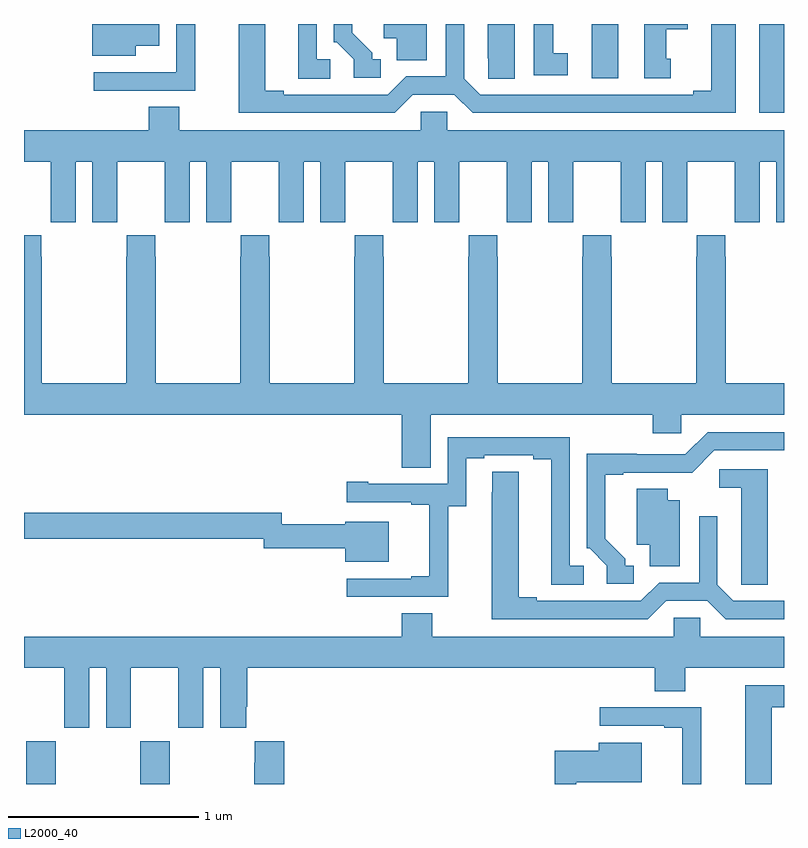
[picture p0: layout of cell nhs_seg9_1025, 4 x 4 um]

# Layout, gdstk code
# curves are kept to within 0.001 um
import gdstk
lib = gdstk.Library(unit=1e-6, precision=1e-09)
def R(c, l, rs):  # rectangles x0, y0, x1, y1
    for r in rs: c.add(gdstk.rectangle(r[:2], r[2:], *l))
def P(c, l, *ps):  # polygons
    for p in ps: c.add(gdstk.Polygon(p, *l))
L2000_40 = (2000, 40)

nhs_seg9_1025 = lib.new_cell('nhs_seg9_1025')
R(nhs_seg9_1025, L2000_40, [(167.011,1170.5,167.166,1170.724), (167.611,1170.5,167.766,1170.724), (170.87,1174.032,171,1174.5), (169.988,1174.215,170.128,1174.5)])
P(nhs_seg9_1025, L2000_40, [(167.901,1174.5),(167.802,1174.5),(167.802,1174.246),(167.801,1174.246),(167.801,1174.245),(167.367,1174.245),(167.367,1174.149),(167.901,1174.149)],
  [(168.613,1174.314),(168.54,1174.314),(168.54,1174.5),(168.443,1174.5),(168.443,1174.213),(168.613,1174.213)],
  [(169.861,1174.346),(169.786,1174.346),(169.786,1174.5),(169.682,1174.5),(169.682,1174.23),(169.861,1174.23)],
  [(168.877,1174.314),(168.832,1174.314),(168.832,1174.349),(168.727,1174.454),(168.727,1174.5),(168.63,1174.5),(168.63,1174.404),(168.645,1174.404),(168.735,1174.314),(168.735,1174.218),(168.877,1174.218)],
  [(169.582,1174.5),(169.442,1174.5),(169.442,1174.321),(169.443,1174.321),(169.443,1174.213),(169.582,1174.213)],
  [(167.587,1174.385),(167.713,1174.385),(167.713,1174.5),(167.36,1174.5),(167.36,1174.334),(167.587,1174.334)],
  [(169.047,1174.128),(169.265,1174.128),(169.361,1174.032),(170.746,1174.032),(170.746,1174.5),(170.618,1174.5),(170.618,1174.148),(170.522,1174.148),(170.522,1174.128),(169.401,1174.128),(169.317,1174.212),(169.317,1174.5),(169.221,1174.5),(169.221,1174.224),(169.011,1174.224),(168.915,1174.128),(168.367,1174.128),(168.367,1174.148),(168.271,1174.148),(168.271,1174.5),(168.131,1174.5),(168.131,1174.032),(168.951,1174.032)],
  [(169.12,1174.5),(168.893,1174.5),(168.893,1174.424),(168.962,1174.424),(168.962,1174.309),(169.12,1174.309)],
  [(170.404,1174.317),(170.38,1174.317),(170.38,1174.472),(170.494,1174.472),(170.494,1174.5),(170.264,1174.5),(170.264,1174.215),(170.404,1174.215)],
  [(169.089,1173.94),(167.817,1173.94),(167.817,1174.064),(167.657,1174.064),(167.657,1173.94),(167,1173.94),(167,1173.776),(167.141,1173.776),(167.141,1173.568),(167.142,1173.568),(167.142,1173.456),(167.272,1173.456),(167.272,1173.776),(167.36,1173.776),(167.36,1173.456),(167.49,1173.456),(167.49,1173.568),(167.491,1173.568),(167.491,1173.776),(167.741,1173.776),(167.741,1173.568),(167.742,1173.568),(167.742,1173.456),(167.872,1173.456),(167.872,1173.776),(167.96,1173.776),(167.96,1173.456),(168.09,1173.456),(168.09,1173.568),(168.091,1173.568),(168.091,1173.776),(168.341,1173.776),(168.341,1173.568),(168.342,1173.568),(168.342,1173.456),(168.472,1173.456),(168.472,1173.776),(168.56,1173.776),(168.56,1173.456),(168.69,1173.456),(168.69,1173.568),(168.691,1173.568),(168.691,1173.776),(168.941,1173.776),(168.941,1173.568),(168.942,1173.568),(168.942,1173.456),(169.072,1173.456),(169.072,1173.776),(169.16,1173.776),(169.16,1173.456),(169.29,1173.456),(169.29,1173.568),(169.291,1173.568),(169.291,1173.776),(169.541,1173.776),(169.541,1173.568),(169.542,1173.568),(169.542,1173.456),(169.672,1173.456),(169.672,1173.776),(169.76,1173.776),(169.76,1173.456),(169.89,1173.456),(169.89,1173.568),(169.891,1173.568),(169.891,1173.776),(170.141,1173.776),(170.141,1173.568),(170.142,1173.568),(170.142,1173.456),(170.272,1173.456),(170.272,1173.776),(170.36,1173.776),(170.36,1173.456),(170.49,1173.456),(170.49,1173.568),(170.491,1173.568),(170.491,1173.776),(170.741,1173.776),(170.741,1173.568),(170.742,1173.568),(170.742,1173.456),(170.872,1173.456),(170.872,1173.776),(170.96,1173.776),(170.96,1173.456),(171,1173.456),(171,1173.94),(169.227,1173.94),(169.227,1174.038),(169.089,1174.038)],
  [(171,1172.608),(170.694,1172.608),(170.694,1173.275),(170.691,1173.275),(170.691,1173.388),(170.541,1173.388),(170.541,1173.275),(170.539,1173.275),(170.539,1172.608),(170.094,1172.608),(170.094,1173.275),(170.091,1173.275),(170.091,1173.388),(169.941,1173.388),(169.941,1173.275),(169.939,1173.275),(169.939,1172.608),(169.494,1172.608),(169.494,1173.275),(169.491,1173.275),(169.491,1173.388),(169.341,1173.388),(169.341,1173.275),(169.339,1173.275),(169.339,1172.608),(168.894,1172.608),(168.894,1173.275),(168.891,1173.275),(168.891,1173.388),(168.741,1173.388),(168.741,1173.275),(168.739,1173.275),(168.739,1172.608),(168.294,1172.608),(168.294,1173.275),(168.291,1173.275),(168.291,1173.388),(168.141,1173.388),(168.141,1173.275),(168.139,1173.275),(168.139,1172.608),(167.694,1172.608),(167.694,1173.275),(167.691,1173.275),(167.691,1173.388),(167.541,1173.388),(167.541,1173.275),(167.539,1173.275),(167.539,1172.608),(167.094,1172.608),(167.094,1173.275),(167.091,1173.275),(167.091,1173.388),(167,1173.388),(167,1172.444),(168.989,1172.444),(168.989,1172.164),(169.141,1172.164),(169.141,1172.444),(170.309,1172.444),(170.309,1172.346),(170.46,1172.346),(170.46,1172.444),(171,1172.444)],
  [(170.209,1171.65),(170.164,1171.65),(170.164,1171.685),(170.059,1171.79),(170.059,1172.127),(170.155,1172.127),(170.155,1172.139),(170.516,1172.138),(170.634,1172.256),(171,1172.256),(171,1172.352),(170.598,1172.352),(170.481,1172.235),(170.225,1172.235),(170.225,1172.237),(169.962,1172.237),(169.962,1171.74),(169.977,1171.74),(170.067,1171.65),(170.067,1171.554),(170.209,1171.554)],
  [(169.233,1171.963),(169.327,1171.963),(169.327,1172.214),(169.423,1172.214),(169.423,1172.229),(169.679,1172.229),(169.679,1172.209),(169.775,1172.209),(169.775,1171.549),(169.945,1171.549),(169.945,1171.65),(169.872,1171.65),(169.872,1172.325),(169.23,1172.325),(169.23,1172.079),(168.811,1172.079),(168.811,1172.092),(168.699,1172.092),(168.699,1171.983),(169.037,1171.983),(169.037,1171.971),(169.133,1171.971),(169.133,1171.594),(169.037,1171.594),(169.037,1171.581),(168.699,1171.581),(168.699,1171.485),(169.233,1171.485)],
  [(170.914,1172.157),(170.658,1172.157),(170.658,1172.06),(170.774,1172.06),(170.774,1171.657),(170.775,1171.657),(170.775,1171.549),(170.914,1171.549)],
  [(170.379,1171.464),(170.597,1171.464),(170.693,1171.368),(171,1171.368),(171,1171.464),(170.733,1171.464),(170.649,1171.548),(170.649,1171.909),(170.553,1171.909),(170.553,1171.56),(170.343,1171.56),(170.247,1171.464),(169.699,1171.464),(169.699,1171.484),(169.603,1171.484),(169.603,1172.144),(169.464,1172.144),(169.463,1171.368),(170.283,1171.368)],
  [(170.452,1171.993),(170.389,1171.993),(170.389,1172.054),(170.225,1172.054),(170.225,1171.76),(170.294,1171.76),(170.294,1171.645),(170.452,1171.645)],
  [(168.919,1171.879),(168.692,1171.879),(168.692,1171.868),(168.357,1171.868),(168.357,1171.928),(167,1171.928),(167,1171.792),(168.261,1171.792),(168.261,1171.74),(168.692,1171.74),(168.692,1171.67),(168.919,1171.67)],
  [(167,1171.112),(167.213,1171.112),(167.213,1170.795),(167.344,1170.795),(167.344,1171.112),(167.432,1171.112),(167.432,1170.795),(167.563,1170.795),(167.563,1171.112),(167.813,1171.112),(167.813,1170.795),(167.944,1170.795),(167.944,1171.112),(168.032,1171.112),(168.032,1170.795),(168.169,1170.795),(168.169,1170.907),(168.176,1170.907),(168.176,1171.112),(170.321,1171.112),(170.321,1170.988),(170.481,1170.988),(170.481,1171.112),(171,1171.112),(171,1171.276),(170.559,1171.276),(170.559,1171.374),(170.421,1171.374),(170.421,1171.276),(169.149,1171.276),(169.149,1171.4),(168.989,1171.4),(168.989,1171.276),(167,1171.276)],
  [(170.935,1170.904),(171,1170.904),(171,1171.02),(170.795,1171.02),(170.795,1170.5),(170.935,1170.5)],
  [(170.565,1170.903),(170.031,1170.903),(170.031,1170.807),(170.369,1170.807),(170.369,1170.795),(170.465,1170.795),(170.465,1170.5),(170.565,1170.5)],
  [(168.371,1170.724),(168.215,1170.724),(168.215,1170.611),(168.211,1170.611),(168.211,1170.5),(168.371,1170.5)],
  [(169.906,1170.509),(170.251,1170.509),(170.251,1170.718),(170.024,1170.718),(170.024,1170.675),(169.794,1170.675),(169.794,1170.5),(169.906,1170.5)])

lib.write_gds('nhs_seg9_1025.gds')
